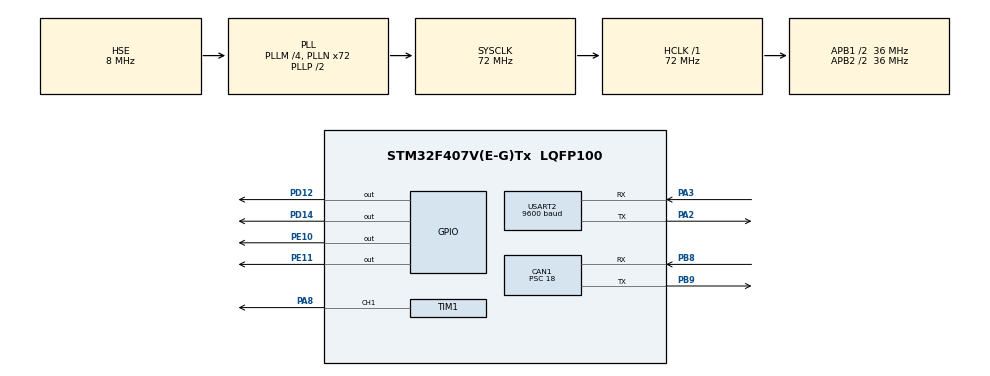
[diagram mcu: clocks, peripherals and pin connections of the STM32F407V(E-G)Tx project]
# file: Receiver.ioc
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CAN1.BS1=CAN_BS1_2TQ
CAN1.CalculateBaudRate=500000
CAN1.CalculateTimeBit=2000
CAN1.CalculateTimeQuantum=500.0
CAN1.Prescaler=18
Mcu.Family=STM32F4
Mcu.Name=STM32F407V(E-G)Tx
Mcu.Package=LQFP100
NVIC.CAN1_RX0_IRQn=true\:0\:0\:false\:false\:true\:true\:true\:true
NVIC.PriorityGroup=NVIC_PRIORITYGROUP_0
PA2.Mode=Asynchronous
PA2.Signal=USART2_TX
PA3.Mode=Asynchronous
PA3.Signal=USART2_RX
PA8.Signal=S_TIM1_CH1
PB8.Mode=CAN_Activate
PB8.Signal=CAN1_RX
PB9.Mode=CAN_Activate
PB9.Signal=CAN1_TX
PD12.Signal=GPIO_Output
PD14.Signal=GPIO_Output
PE10.Signal=GPIO_Output
PE11.Signal=GPIO_Output
PH0-OSC_IN.Mode=HSE-External-Oscillator
PH0-OSC_IN.Signal=RCC_OSC_IN
PH1-OSC_OUT.Mode=HSE-External-Oscillator
PH1-OSC_OUT.Signal=RCC_OSC_OUT
ProjectManager.HeapSize=0x200
ProjectManager.StackSize=0x400
ProjectManager.TargetToolchain=STM32CubeIDE
RCC.48MHZClocksFreq_Value=20571428.57142857
RCC.AHBFreq_Value=72000000
RCC.APB1CLKDivider=RCC_HCLK_DIV2
RCC.APB1Freq_Value=36000000
RCC.APB1TimFreq_Value=72000000
RCC.APB2CLKDivider=RCC_HCLK_DIV2
RCC.APB2Freq_Value=36000000
RCC.APB2TimFreq_Value=72000000
RCC.CortexFreq_Value=72000000
RCC.HCLKFreq_Value=72000000
RCC.HSE_VALUE=8000000
RCC.HSI_VALUE=16000000
RCC.LSE_VALUE=32768
RCC.PLLM=4
RCC.PLLN=72
RCC.PLLQ=7
RCC.PLLSourceVirtual=RCC_PLLSOURCE_HSE
RCC.SYSCLKFreq_VALUE=72000000
RCC.SYSCLKSource=RCC_SYSCLKSOURCE_PLLCLK
RCC.VCOOutputFreq_Value=144000000
SH.S_TIM1_CH1.0=TIM1_CH1,PWM Generation1 CH1
TIM1.AutoReloadPreload=TIM_AUTORELOAD_PRELOAD_ENABLE
TIM1.Channel-PWM\ Generation1\ CH1=TIM_CHANNEL_1
TIM1.Period=100-1
TIM1.Prescaler=16-1
USART2.BaudRate=9600
USART2.VirtualMode=VM_ASYNC
board=STM32F407G-DISC1

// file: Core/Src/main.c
/* USER CODE BEGIN Header */
/**
 ******************************************************************************
 * @file           : main.c
 * @brief          : Main program body
 ******************************************************************************
 * @attention
 *
 * Copyright (c) 2024 STMicroelectronics.
 * All rights reserved.
 *
 * This software is licensed under terms that can be found in the LICENSE file
 * in the root directory of this software component.
 * If no LICENSE file comes with this software, it is provided AS-IS.
 *
 ******************************************************************************
 */
/* USER CODE END Header */
#include "main.h"

/* USER CODE BEGIN Includes */
#include<stdio.h>
#include<string.h>
/* USER CODE END Includes */

/* USER CODE BEGIN PD */
#define FORWARD 1
#define BACKWARD 0
#define MIN_DIST 5
#define MAX_DIST 100
#define MIN_SPEED 70
#define MAX_SPEED 100
/* USER CODE END PD */

CAN_HandleTypeDef hcan1;

TIM_HandleTypeDef htim1;

UART_HandleTypeDef huart2;

void SystemClock_Config(void);
static void MX_GPIO_Init(void);
static void MX_CAN1_Init(void);
static void MX_TIM1_Init(void);
static void MX_USART2_UART_Init(void);
/* USER CODE BEGIN PFP */
void MotorStart(void);
void MotorStop(void);
void IR_Sensor_Receiver_Msg(void);
void SetMotorSpeed(uint16_t distance);
/* USER CODE END PFP */

/* USER CODE BEGIN 0 */
CAN_RxHeaderTypeDef RxHeader;
uint8_t RxData[8];
uint8_t is_data_received;
uint16_t distance;
uint16_t speed;
char uart_buf[64];
char msg_buffer[50];

void HAL_CAN_RxFifo0MsgPendingCallback(CAN_HandleTypeDef *hcan) {
	if (HAL_CAN_GetRxMessage(hcan, CAN_RX_FIFO0, &RxHeader, RxData) == HAL_OK) {
		// process the message
		if (RxHeader.DLC == 3) {
			is_data_received = 1;
		}
	}
}

void IR_Sensor_Receiver_Msg(void) {

	// Interpret IR sensor status: 1 = obstacle, 0 = clear
	if (RxData[2] == 1) {
		snprintf(msg_buffer, sizeof(msg_buffer),
				"IR Sensor: Obstacle detected\r\n");
		HAL_GPIO_TogglePin(GPIOD, GPIO_PIN_14);

	} else {
		snprintf(msg_buffer, sizeof(msg_buffer), "IR Sensor: Area clear\r\n");
	}

	// Transmit the status over UART
	HAL_UART_Transmit(&huart2, (uint8_t*) msg_buffer, strlen(msg_buffer),
			HAL_MAX_DELAY);

}

void SetMotorSpeed(uint16_t distance)
{
	speed = MIN_SPEED + ((distance - MIN_DIST) * (MAX_SPEED - MIN_SPEED) / (MAX_DIST - MIN_DIST));
	if(speed > MAX_SPEED)
	    speed = MAX_SPEED;
	uint16_t pulsewidth  = (htim1.Init.Period + 1) * speed / 100;
	__HAL_TIM_SET_COMPARE(&htim1, TIM_CHANNEL_1, speed);

	MotorStart();
//	HAL_Delay(3000);
}

void MotorStart(void) {
	HAL_GPIO_WritePin(GPIOE, GPIO_PIN_10, GPIO_PIN_SET);
	HAL_GPIO_WritePin(GPIOE, GPIO_PIN_11, GPIO_PIN_RESET);
}

void MotorStop(void) {
	HAL_GPIO_WritePin(GPIOE, GPIO_PIN_10, GPIO_PIN_RESET);
	HAL_GPIO_WritePin(GPIOE, GPIO_PIN_11, GPIO_PIN_RESET);
}

/* USER CODE END 0 */

int main(void)
{

  /* USER CODE BEGIN 1 */
	char str[64];
	//char *str2;
	//char *str2 = "      ------------------THIS IS COVAS------------------\r\n";
  /* USER CODE END 1 */

  /* MCU Configuration--------------------------------------------------------*/

  /* Reset of all peripherals, Initializes the Flash interface and the Systick. */
  HAL_Init();

  /* Configure the system clock */
  SystemClock_Config();

  /* Initialize all configured peripherals */
  MX_GPIO_Init();
  MX_CAN1_Init();
  MX_TIM1_Init();
  MX_USART2_UART_Init();
  /* USER CODE BEGIN 2 */
	HAL_CAN_Start(&hcan1);
	HAL_CAN_ActivateNotification(&hcan1, CAN_IT_RX_FIFO0_MSG_PENDING);
	HAL_TIM_PWM_Start(&htim1, TIM_CHANNEL_1);
	//HAL_UART_Transmit(&huart2, (uint8_t*) str2, strlen(str2), HAL_MAX_DELAY);
  /* USER CODE END 2 */

  /* Infinite loop */
	while (1) {

    /* USER CODE BEGIN 3 */
		if (is_data_received == 1) {
			strcpy(str,
					"---------------------------------------------------------- \r\n");
			HAL_UART_Transmit(&huart2, (uint8_t*) str, strlen(str),
					HAL_MAX_DELAY);
			HAL_GPIO_WritePin(GPIOD, GPIO_PIN_14, GPIO_PIN_RESET);
			HAL_GPIO_WritePin(GPIOD, GPIO_PIN_12, GPIO_PIN_SET);
			distance = (uint16_t) RxData[0] << 8 | (uint16_t) RxData[1];

			sprintf(str, " Distance : %d cm \r \n", distance);
			HAL_UART_Transmit(&huart2, (uint8_t*) str, strlen(str),
					HAL_MAX_DELAY);

			if (distance < 20) {
				MotorStop();
			} else {
				MotorStart();
			}

			IR_Sensor_Receiver_Msg();

			HAL_GPIO_WritePin(GPIOD, GPIO_PIN_12, GPIO_PIN_RESET);
			HAL_Delay(500);
		}

		is_data_received = 0;
	}
  /* USER CODE END 3 */
}

void SystemClock_Config(void)
{
  RCC_OscInitTypeDef RCC_OscInitStruct = {0};
  RCC_ClkInitTypeDef RCC_ClkInitStruct = {0};

  /** Configure the main internal regulator output voltage
  */
  __HAL_RCC_PWR_CLK_ENABLE();
  __HAL_PWR_VOLTAGESCALING_CONFIG(PWR_REGULATOR_VOLTAGE_SCALE1);

  /** Initializes the RCC Oscillators according to the specified parameters
  * in the RCC_OscInitTypeDef structure.
  */
  RCC_OscInitStruct.OscillatorType = RCC_OSCILLATORTYPE_HSE;
  RCC_OscInitStruct.HSEState = RCC_HSE_ON;
  RCC_OscInitStruct.PLL.PLLState = RCC_PLL_ON;
  RCC_OscInitStruct.PLL.PLLSource = RCC_PLLSOURCE_HSE;
  RCC_OscInitStruct.PLL.PLLM = 4;
  RCC_OscInitStruct.PLL.PLLN = 72;
  RCC_OscInitStruct.PLL.PLLP = RCC_PLLP_DIV2;
  RCC_OscInitStruct.PLL.PLLQ = 7;
  if (HAL_RCC_OscConfig(&RCC_OscInitStruct) != HAL_OK)
  {
    Error_Handler();
  }

  /** Initializes the CPU, AHB and APB buses clocks
  */
  RCC_ClkInitStruct.ClockType = RCC_CLOCKTYPE_HCLK|RCC_CLOCKTYPE_SYSCLK
                              |RCC_CLOCKTYPE_PCLK1|RCC_CLOCKTYPE_PCLK2;
  RCC_ClkInitStruct.SYSCLKSource = RCC_SYSCLKSOURCE_PLLCLK;
  RCC_ClkInitStruct.AHBCLKDivider = RCC_SYSCLK_DIV1;
  RCC_ClkInitStruct.APB1CLKDivider = RCC_HCLK_DIV2;
  RCC_ClkInitStruct.APB2CLKDivider = RCC_HCLK_DIV2;

  if (HAL_RCC_ClockConfig(&RCC_ClkInitStruct, FLASH_LATENCY_2) != HAL_OK)
  {
    Error_Handler();
  }
}

static void MX_CAN1_Init(void)
{

  hcan1.Instance = CAN1;
  hcan1.Init.Prescaler = 18;
  hcan1.Init.Mode = CAN_MODE_NORMAL;
  hcan1.Init.SyncJumpWidth = CAN_SJW_1TQ;
  hcan1.Init.TimeSeg1 = CAN_BS1_2TQ;
  hcan1.Init.TimeSeg2 = CAN_BS2_1TQ;
  hcan1.Init.TimeTriggeredMode = DISABLE;
  hcan1.Init.AutoBusOff = DISABLE;
  hcan1.Init.AutoWakeUp = DISABLE;
  hcan1.Init.AutoRetransmission = DISABLE;
  hcan1.Init.ReceiveFifoLocked = DISABLE;
  hcan1.Init.TransmitFifoPriority = DISABLE;
  if (HAL_CAN_Init(&hcan1) != HAL_OK)
  {
    Error_Handler();
  }
  /* USER CODE BEGIN CAN1_Init 2 */
	CAN_FilterTypeDef FilterConfig;
	//FilterConfig.SlaveStartFilterBank = 9; // CAN1-0 to 8, CAN2-9 to 27
	FilterConfig.FilterActivation = CAN_FILTER_ENABLE;
	FilterConfig.FilterBank = 0; // Use any Filter from 0 to 8
	FilterConfig.FilterScale = CAN_FILTERSCALE_32BIT; // Use a 32-bit filter
	FilterConfig.FilterMode = CAN_FILTERMODE_IDMASK;
	FilterConfig.FilterMaskIdHigh = 0xFF00;
	FilterConfig.FilterMaskIdLow = 0x0000;
	FilterConfig.FilterIdHigh = 0x1500;
	FilterConfig.FilterIdLow = 0x0000;
	FilterConfig.FilterFIFOAssignment = CAN_RX_FIFO0;

	if (HAL_CAN_ConfigFilter(&hcan1, &FilterConfig) != HAL_OK)
		Error_Handler();
  /* USER CODE END CAN1_Init 2 */

}

static void MX_TIM1_Init(void)
{

  TIM_MasterConfigTypeDef sMasterConfig = {0};
  TIM_OC_InitTypeDef sConfigOC = {0};
  TIM_BreakDeadTimeConfigTypeDef sBreakDeadTimeConfig = {0};

  htim1.Instance = TIM1;
  htim1.Init.Prescaler = 16-1;
  htim1.Init.CounterMode = TIM_COUNTERMODE_UP;
  htim1.Init.Period = 100-1;
  htim1.Init.ClockDivision = TIM_CLOCKDIVISION_DIV1;
  htim1.Init.RepetitionCounter = 0;
  htim1.Init.AutoReloadPreload = TIM_AUTORELOAD_PRELOAD_ENABLE;
  if (HAL_TIM_PWM_Init(&htim1) != HAL_OK)
  {
    Error_Handler();
  }
  sMasterConfig.MasterOutputTrigger = TIM_TRGO_RESET;
  sMasterConfig.MasterSlaveMode = TIM_MASTERSLAVEMODE_DISABLE;
  if (HAL_TIMEx_MasterConfigSynchronization(&htim1, &sMasterConfig) != HAL_OK)
  {
    Error_Handler();
  }
  sConfigOC.OCMode = TIM_OCMODE_PWM1;
  sConfigOC.Pulse = 0;
  sConfigOC.OCPolarity = TIM_OCPOLARITY_HIGH;
  sConfigOC.OCNPolarity = TIM_OCNPOLARITY_HIGH;
  sConfigOC.OCFastMode = TIM_OCFAST_DISABLE;
  sConfigOC.OCIdleState = TIM_OCIDLESTATE_RESET;
  sConfigOC.OCNIdleState = TIM_OCNIDLESTATE_RESET;
  if (HAL_TIM_PWM_ConfigChannel(&htim1, &sConfigOC, TIM_CHANNEL_1) != HAL_OK)
  {
    Error_Handler();
  }
  sBreakDeadTimeConfig.OffStateRunMode = TIM_OSSR_DISABLE;
  sBreakDeadTimeConfig.OffStateIDLEMode = TIM_OSSI_DISABLE;
  sBreakDeadTimeConfig.LockLevel = TIM_LOCKLEVEL_OFF;
  sBreakDeadTimeConfig.DeadTime = 0;
  sBreakDeadTimeConfig.BreakState = TIM_BREAK_DISABLE;
  sBreakDeadTimeConfig.BreakPolarity = TIM_BREAKPOLARITY_HIGH;
  sBreakDeadTimeConfig.AutomaticOutput = TIM_AUTOMATICOUTPUT_DISABLE;
  if (HAL_TIMEx_ConfigBreakDeadTime(&htim1, &sBreakDeadTimeConfig) != HAL_OK)
  {
    Error_Handler();
  }
  HAL_TIM_MspPostInit(&htim1);

}

static void MX_USART2_UART_Init(void)
{

  huart2.Instance = USART2;
  huart2.Init.BaudRate = 9600;
  huart2.Init.WordLength = UART_WORDLENGTH_8B;
  huart2.Init.StopBits = UART_STOPBITS_1;
  huart2.Init.Parity = UART_PARITY_NONE;
  huart2.Init.Mode = UART_MODE_TX_RX;
  huart2.Init.HwFlowCtl = UART_HWCONTROL_NONE;
  huart2.Init.OverSampling = UART_OVERSAMPLING_16;
  if (HAL_UART_Init(&huart2) != HAL_OK)
  {
    Error_Handler();
  }

}

static void MX_GPIO_Init(void)
{
  GPIO_InitTypeDef GPIO_InitStruct = {0};

  /* GPIO Ports Clock Enable */
  __HAL_RCC_GPIOH_CLK_ENABLE();
  __HAL_RCC_GPIOA_CLK_ENABLE();
  __HAL_RCC_GPIOE_CLK_ENABLE();
  __HAL_RCC_GPIOD_CLK_ENABLE();
  __HAL_RCC_GPIOB_CLK_ENABLE();

  /*Configure GPIO pin Output Level */
  HAL_GPIO_WritePin(GPIOE, GPIO_PIN_10|GPIO_PIN_11, GPIO_PIN_RESET);

  /*Configure GPIO pin Output Level */
  HAL_GPIO_WritePin(GPIOD, GPIO_PIN_12|GPIO_PIN_14, GPIO_PIN_RESET);

  /*Configure GPIO pins : PE10 PE11 */
  GPIO_InitStruct.Pin = GPIO_PIN_10|GPIO_PIN_11;
  GPIO_InitStruct.Mode = GPIO_MODE_OUTPUT_PP;
  GPIO_InitStruct.Pull = GPIO_NOPULL;
  GPIO_InitStruct.Speed = GPIO_SPEED_FREQ_LOW;
  HAL_GPIO_Init(GPIOE, &GPIO_InitStruct);

  /*Configure GPIO pins : PD12 PD14 */
  GPIO_InitStruct.Pin = GPIO_PIN_12|GPIO_PIN_14;
  GPIO_InitStruct.Mode = GPIO_MODE_OUTPUT_PP;
  GPIO_InitStruct.Pull = GPIO_NOPULL;
  GPIO_InitStruct.Speed = GPIO_SPEED_FREQ_LOW;
  HAL_GPIO_Init(GPIOD, &GPIO_InitStruct);

}

void Error_Handler(void)
{
	__disable_irq();
	while (1) {
	}
}
